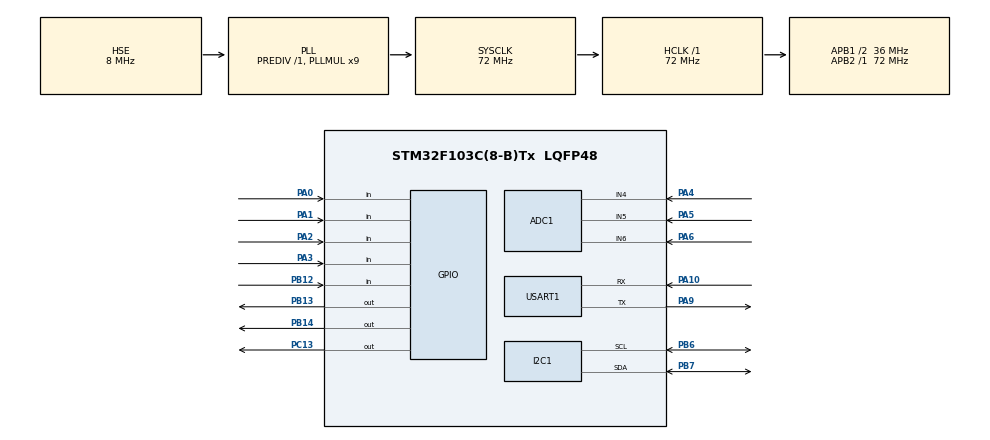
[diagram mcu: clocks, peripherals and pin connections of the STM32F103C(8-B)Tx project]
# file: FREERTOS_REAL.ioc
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ADC1.Channel-0\#ChannelRegularConversion=ADC_CHANNEL_4
ADC1.NbrOfConversionFlag=1
ADC1.Rank-0\#ChannelRegularConversion=1
ADC1.SamplingTime-0\#ChannelRegularConversion=ADC_SAMPLETIME_1CYCLE_5
ADC1.master=1
FREERTOS.Tasks01=defaultTask,24,128,StartDefaultTask,Default,NULL,Dynamic,NULL,NULL
FREERTOS.configTOTAL_HEAP_SIZE=8192
Mcu.Family=STM32F1
Mcu.Name=STM32F103C(8-B)Tx
Mcu.Package=LQFP48
NVIC.PriorityGroup=NVIC_PRIORITYGROUP_4
NVIC.TIM4_IRQn=true\:15\:0\:false\:false\:true\:false\:false\:true\:true
NVIC.TimeBase=TIM4_IRQn
NVIC.TimeBaseIP=TIM4
NVIC.USART1_IRQn=true\:5\:0\:false\:false\:true\:true\:true\:true\:true
PA0-WKUP.GPIO_PuPd=GPIO_PULLUP
PA0-WKUP.Signal=GPIO_Input
PA1.GPIO_PuPd=GPIO_PULLUP
PA1.Signal=GPIO_Input
PA10.Mode=Asynchronous
PA10.Signal=USART1_RX
PA13.Mode=Serial_Wire
PA13.Signal=SYS_JTMS-SWDIO
PA14.Mode=Serial_Wire
PA14.Signal=SYS_JTCK-SWCLK
PA2.GPIO_PuPd=GPIO_PULLUP
PA2.Signal=GPIO_Input
PA3.GPIO_PuPd=GPIO_PULLUP
PA3.Signal=GPIO_Input
PA4.Signal=ADCx_IN4
PA5.Signal=ADCx_IN5
PA6.Signal=ADCx_IN6
PA9.Mode=Asynchronous
PA9.Signal=USART1_TX
PB12.GPIO_PuPd=GPIO_PULLUP
PB12.Signal=GPIO_Input
PB13.GPIO_PuPd=GPIO_PULLDOWN
PB13.Signal=GPIO_Output
PB14.GPIO_PuPd=GPIO_PULLDOWN
PB14.Signal=GPIO_Output
PB6.Mode=I2C
PB6.Signal=I2C1_SCL
PB7.Mode=I2C
PB7.Signal=I2C1_SDA
PC13-TAMPER-RTC.Signal=GPIO_Output
PD0-OSC_IN.Mode=HSE-External-Oscillator
PD0-OSC_IN.Signal=RCC_OSC_IN
PD1-OSC_OUT.Mode=HSE-External-Oscillator
PD1-OSC_OUT.Signal=RCC_OSC_OUT
ProjectManager.HeapSize=0x200
ProjectManager.StackSize=0x400
ProjectManager.TargetToolchain=STM32CubeIDE
RCC.ADCPresc=RCC_ADCPCLK2_DIV6
RCC.AHBFreq_Value=72000000
RCC.APB1CLKDivider=RCC_HCLK_DIV2
RCC.APB1Freq_Value=36000000
RCC.APB1TimFreq_Value=72000000
RCC.APB2Freq_Value=72000000
RCC.APB2TimFreq_Value=72000000
RCC.HCLKFreq_Value=72000000
RCC.PLLMUL=RCC_PLL_MUL9
RCC.PLLSourceVirtual=RCC_PLLSOURCE_HSE
RCC.SYSCLKFreq_VALUE=72000000
RCC.SYSCLKSource=RCC_SYSCLKSOURCE_PLLCLK
RCC.USBFreq_Value=72000000
SH.ADCx_IN4.0=ADC1_IN4,IN4
SH.ADCx_IN5.0=ADC1_IN5,IN5
SH.ADCx_IN6.0=ADC1_IN6,IN6
TIM3.Prescaler=71
USART1.VirtualMode=VM_ASYNC
VP_FREERTOS_VS_CMSIS_V2.Mode=CMSIS_V2
VP_SYS_VS_tim4.Mode=TIM4
VP_TIM3_VS_ClockSourceINT.Mode=Internal
board=custom

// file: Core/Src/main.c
/* USER CODE BEGIN Header */
/**
  ******************************************************************************
  * @file           : main.c
  * @brief          : Main program body
  ******************************************************************************
  * @attention
  *
  * Copyright (c) 2026 STMicroelectronics.
  * All rights reserved.
  *
  * This software is licensed under terms that can be found in the LICENSE file
  * in the root directory of this software component.
  * If no LICENSE file comes with this software, it is provided AS-IS.
  *
  ******************************************************************************
  */
/* USER CODE END Header */
#include "main.h"
#include "cmsis_os.h"

/* USER CODE BEGIN Includes */
#include "ssd1306.h"
#include "ssd1306_fonts.h"
#include "stdio.h"
#include "string.h"
#include "DHT.h"
#define LIGHT_RELAY_PIN      GPIO_PIN_13
#define LIGHT_RELAY_PORT     GPIOB

#define PUMP_RELAY_PIN       GPIO_PIN_14
#define PUMP_RELAY_PORT      GPIOB

#define SOIL_PUMP_ON_THRESH  60
#define LIGHT_LOW_THRESH     40

/* USER CODE END Includes */

/* USER CODE BEGIN PTD */
typedef enum {
  BTN_EVT_OK = 0,
  BTN_EVT_BACK,
  BTN_EVT_UP,
  BTN_EVT_DOWN
} ButtonEvent_t;

typedef enum {
  SCREEN_MENU = 0,
  SCREEN_PLANT_LIST,
  SCREEN_PLANT_INFO,
  SCREEN_PLANT_CONFIRM,
  SCREEN_ACTIVE_HOME,
  SCREEN_ACTIVE_INFO,
  SCREEN_HISTORY_LIST,
  SCREEN_HISTORY_DETAIL
} ScreenState_t;

typedef struct {
  const char* name;
  uint8_t tempMin;
  uint8_t tempMax;
  uint8_t soilMin;
  uint8_t soilMax;
  uint8_t humidMin;
  uint8_t humidMax;
  uint8_t lightMin;
  uint8_t lightMax;
  uint8_t waterTimesPerDay;
} PlantData;

typedef struct {
  int soil;
  int humid;
  int temp;
  int lightPercent;
  float lightHours;
  int minutesToWater;
  int dayRemainSeconds;
  float careHours;
  uint8_t pumpState;
  uint8_t lightState;
} SensorData_t;

typedef struct {
  uint8_t used;
  uint8_t plantId;
  uint16_t reserved;
} HistoryItem_t;

#define HISTORY_MAX 5

typedef struct {
  uint32_t magic;
  uint8_t hasActivePlant;
  uint8_t activePlantId;
  uint8_t historyCount;
  uint8_t historyWriteIndex;

  int minutesToWater;
  float lightHours;

  HistoryItem_t history[HISTORY_MAX];
} PersistData_t;

/* USER CODE END PTD */

/* USER CODE BEGIN PD */
#define BTN_OK_PIN        GPIO_PIN_2
#define BTN_OK_PORT       GPIOA

#define BTN_BACK_PIN      GPIO_PIN_1
#define BTN_BACK_PORT     GPIOA

#define BTN_UP_PIN        GPIO_PIN_3
#define BTN_UP_PORT       GPIOA

#define BTN_DOWN_PIN      GPIO_PIN_0
#define BTN_DOWN_PORT     GPIOA

#define DEBOUNCE_MS               20U
#define SENSOR_PERIOD_MS          1000U
#define ACTIVE_HOME_REFRESH_MS    1000U

#define EVT_REDRAW                (1U << 0)

#define PLANT_COUNT               3

#define FLASH_STORE_ADDR          0x0800FC00U
#define PERSIST_MAGIC             0x504C414EU

DHT_Name DHT1;
uint8_t dhtOk = 0;
float gDhtTempCache = 0.0f;
float gDhtHumidCache = 0.0f;
uint8_t gDhtHasValidData = 0;

uint16_t adcSoilRaw = 0;   // PA4
uint16_t adcLightRaw = 0;  // PA5
uint16_t adcAuxRaw = 0;    // PA6

float gTimeScale = 1.0f;   // he so toc do thoi gian

ScreenState_t currentScreen = SCREEN_MENU;

uint8_t menuIndex = 0;
uint8_t plantIndex = 0;
uint8_t previewPlantId = 0;
uint8_t activePlantId = 0;
uint8_t confirmIndex = 0;
uint8_t historyIndex = 0;

uint8_t infoScroll = 0;
uint8_t activeInfoScroll = 0;
uint8_t homeScroll = 0;
uint8_t hasActivePlant = 0;

SensorData_t gSensorData = {
  .soil = 0,
  .humid = 40,
  .temp = 37,
  .lightPercent = 0,
  .lightHours = 0.0f,
  .minutesToWater = 0,
  .dayRemainSeconds = 24 * 60 * 60,
  .careHours = 0.0f,
  .pumpState = 0,
  .lightState = 0
};
PersistData_t gPersist = {0};

PlantData plants[PLANT_COUNT] = {
  {"Dua leo", 25, 32, 65, 80, 60, 85, 6, 8, 2},
  {"Xa lach", 18, 25, 60, 70, 60, 80, 4, 6, 2},
  {"Nam",     20, 28, 70, 85, 80, 95, 1, 2, 3}
};

//debug
uint32_t dhtValidCount = 0;

/* USER CODE END PD */

ADC_HandleTypeDef hadc1;

I2C_HandleTypeDef hi2c1;

TIM_HandleTypeDef htim3;

UART_HandleTypeDef huart1;

/* Definitions for defaultTask */
osThreadId_t defaultTaskHandle;
const osThreadAttr_t defaultTask_attributes = {
  .name = "defaultTask",
  .stack_size = 128 * 4,
  .priority = (osPriority_t) osPriorityNormal,
};
/* USER CODE BEGIN PV */

osThreadId_t inputTaskHandle;
osThreadId_t sensorTaskHandle;
osThreadId_t logicTaskHandle;
osThreadId_t displayTaskHandle;
osThreadId_t dhtTaskHandle;

const osThreadAttr_t inputTask_attributes = {
  .name = "inputTask",
  .stack_size = 128 * 4,
  .priority = (osPriority_t) osPriorityAboveNormal,
};

const osThreadAttr_t sensorTask_attributes = {
  .name = "sensorTask",
  .stack_size = 128 * 4,
  .priority = (osPriority_t) osPriorityLow,
};

const osThreadAttr_t logicTask_attributes = {
  .name = "logicTask",
  .stack_size = 256 * 4,
  .priority = (osPriority_t) osPriorityNormal,
};

const osThreadAttr_t displayTask_attributes = {
  .name = "displayTask",
  .stack_size = 256 * 4,
  .priority = (osPriority_t) osPriorityBelowNormal,
};

const osThreadAttr_t dhtTask_attributes = {
  .name = "dhtTask",
  .stack_size = 128 * 4,
  .priority = (osPriority_t) osPriorityLow1,
};

osMessageQueueId_t buttonQueueHandle;
osMutexId_t appMutexHandle;
osMutexId_t oledMutexHandle;
osEventFlagsId_t uiEventHandle;

const osMutexAttr_t appMutex_attributes = {
  .name = "appMutex"
};

const osMutexAttr_t oledMutex_attributes = {
  .name = "oledMutex"
};

/* USER CODE END PV */

void SystemClock_Config(void);
static void MX_GPIO_Init(void);
static void MX_I2C1_Init(void);
static void MX_ADC1_Init(void);
static void MX_TIM3_Init(void);
static void MX_USART1_UART_Init(void);
void StartDefaultTask(void *argument);

/* USER CODE BEGIN PFP */
void StartInputTask(void *argument);
void StartSensorTask(void *argument);
void StartLogicTask(void *argument);
void StartDisplayTask(void *argument);
void StartDHTTask(void *argument);

static uint8_t ReadButtonPressed(GPIO_TypeDef *port, uint16_t pin);
static void ProcessButton(GPIO_TypeDef *port, uint16_t pin, ButtonEvent_t evt,
                          uint8_t *sta_now, uint8_t *sta_pre, uint8_t *sta_final,
                          uint8_t *stable_last, uint8_t *flag_press, uint32_t *time_flag);

static void RequestRedraw(void);
static void UpdateSensorData(void);
static void RenderScreen(void);
static void Persist_Load(void);
static void Persist_Save(void);
static void Persist_ApplyToRuntime(void);
static void Persist_UpdateFromRuntime(void);
static void History_Add(uint8_t plantId);

static void HandleMenuInput(ButtonEvent_t evt);
static void HandlePlantListInput(ButtonEvent_t evt);
static void HandlePlantInfoInput(ButtonEvent_t evt);
static void HandlePlantConfirmInput(ButtonEvent_t evt);
static void HandleActiveHomeInput(ButtonEvent_t evt);
static void HandleActiveInfoInput(ButtonEvent_t evt);
static void HandleHistoryListInput(ButtonEvent_t evt);
static void HandleHistoryDetailInput(ButtonEvent_t evt);
void Error_Blink(uint8_t count);
static void DrawHistoryDetailScreen(void);
static void UpdateSensorData(void);
static uint16_t Read_ADC_Channel(uint32_t channel);
static int Map_ADC_To_Percent(uint16_t value, uint16_t minAdc, uint16_t maxAdc, uint8_t invert);
static uint8_t DHT_Read_Safe(float *t, float *h);
/* USER CODE END PFP */

/* USER CODE BEGIN 0 */
static uint16_t Read_ADC_Channel(uint32_t channel)
{
  ADC_ChannelConfTypeDef sConfig = {0};

  sConfig.Channel = channel;
  sConfig.Rank = ADC_REGULAR_RANK_1;
  sConfig.SamplingTime = ADC_SAMPLETIME_55CYCLES_5;

  if (HAL_ADC_ConfigChannel(&hadc1, &sConfig) != HAL_OK) {
    Error_Blink(12);
  }

  if (HAL_ADC_Start(&hadc1) != HAL_OK) {
    Error_Blink(13);
  }

  if (HAL_ADC_PollForConversion(&hadc1, 10) != HAL_OK) {
    HAL_ADC_Stop(&hadc1);
    Error_Blink(14);
  }

  uint16_t value = HAL_ADC_GetValue(&hadc1);
  HAL_ADC_Stop(&hadc1);

  return value;
}

static float Map_ADC_To_TimeScale(uint16_t adc)
{
  float scale;

  scale = 1.0f + ((float)adc / 4095.0f) * 999.0f;

  return scale;
}
static int Map_ADC_To_Percent(uint16_t value, uint16_t minAdc, uint16_t maxAdc, uint8_t invert)
{
  int percent;

  if (maxAdc <= minAdc) return 0;

  if (value < minAdc) value = minAdc;
  if (value > maxAdc) value = maxAdc;

  percent = ((int)(value - minAdc) * 100) / (int)(maxAdc - minAdc);

  if (invert) {
    percent = 100 - percent;
  }

  if (percent < 0) percent = 0;
  if (percent > 100) percent = 100;

  return percent;
}

static void Persist_Load(void)
{
  const PersistData_t *p = (const PersistData_t *)FLASH_STORE_ADDR;

  if (p->magic == PERSIST_MAGIC) {
    memcpy(&gPersist, p, sizeof(PersistData_t));
  } else {
    memset(&gPersist, 0, sizeof(PersistData_t));
    gPersist.magic = PERSIST_MAGIC;
  }
}

static void Persist_UpdateFromRuntime(void)
{
  gPersist.magic = PERSIST_MAGIC;
  gPersist.hasActivePlant = hasActivePlant;
  gPersist.activePlantId = activePlantId;
  gPersist.minutesToWater = gSensorData.minutesToWater;
  gPersist.lightHours = gSensorData.lightHours;
}

static void Persist_ApplyToRuntime(void)
{
  hasActivePlant = gPersist.hasActivePlant;
  activePlantId = gPersist.activePlantId;
  gSensorData.minutesToWater = gPersist.minutesToWater;
  gSensorData.lightHours = gPersist.lightHours;
}

static void Persist_Save(void)
{
  HAL_FLASH_Unlock();

  FLASH_EraseInitTypeDef eraseInit;
  uint32_t pageError = 0;

  eraseInit.TypeErase = FLASH_TYPEERASE_PAGES;
  eraseInit.PageAddress = FLASH_STORE_ADDR;
  eraseInit.NbPages = 1;

  if (HAL_FLASHEx_Erase(&eraseInit, &pageError) != HAL_OK) {
    HAL_FLASH_Lock();
    Error_Blink(10);
  }

  uint32_t *src = (uint32_t *)&gPersist;
  uint32_t addr = FLASH_STORE_ADDR;
  uint32_t words = (sizeof(PersistData_t) + 3U) / 4U;

  for (uint32_t i = 0; i < words; i++) {
    if (HAL_FLASH_Program(FLASH_TYPEPROGRAM_WORD, addr, src[i]) != HAL_OK) {
      HAL_FLASH_Lock();
      Error_Blink(11);
    }
    addr += 4;
  }

  HAL_FLASH_Lock();
}

static void History_Add(uint8_t plantId)
{
  uint8_t idx = gPersist.historyWriteIndex;

  gPersist.history[idx].used = 1;
  gPersist.history[idx].plantId = plantId;

  idx++;
  if (idx >= HISTORY_MAX) idx = 0;

  gPersist.historyWriteIndex = idx;

  if (gPersist.historyCount < HISTORY_MAX) {
    gPersist.historyCount++;
  }
}

static uint8_t ReadButtonPressed(GPIO_TypeDef *port, uint16_t pin)
{
  return (HAL_GPIO_ReadPin(port, pin) == GPIO_PIN_RESET) ? 1U : 0U;
}

static void ProcessButton(GPIO_TypeDef *port, uint16_t pin, ButtonEvent_t evt,
                          uint8_t *sta_now, uint8_t *sta_pre, uint8_t *sta_final,
                          uint8_t *stable_last, uint8_t *flag_press, uint32_t *time_flag)
{
  uint8_t button_read = ReadButtonPressed(port, pin);
  *sta_now = button_read;

  if (*sta_pre != *sta_now) {
    *sta_pre = *sta_now;
    *flag_press = 1;
    *time_flag = osKernelGetTickCount();
  }

  if (*flag_press && ((osKernelGetTickCount() - *time_flag) > DEBOUNCE_MS)) {
    *sta_final = *sta_pre;
    *flag_press = 0;
  }

  if ((*stable_last == 0U) && (*sta_final == 1U)) {
    osMessageQueuePut(buttonQueueHandle, &evt, 0, 0);
  }

  *stable_last = *sta_final;
}

//tạm fake
static void UpdateSensorData(void)
{
  osMutexAcquire(appMutexHandle, osWaitForever);

  adcSoilRaw  = Read_ADC_Channel(ADC_CHANNEL_4);
  adcLightRaw = Read_ADC_Channel(ADC_CHANNEL_5);
  adcAuxRaw   = Read_ADC_Channel(ADC_CHANNEL_6);

  gTimeScale = Map_ADC_To_TimeScale(adcAuxRaw);

  gSensorData.soil = Map_ADC_To_Percent(adcSoilRaw, 1200, 3200, 1);
  gSensorData.lightPercent = Map_ADC_To_Percent(adcLightRaw, 0, 4095, 0);

  if (hasActivePlant) {
    float dt = 1.0f * gTimeScale;
    int deltaSec = (int)(dt + 0.5f);
    PlantData *p = &plants[activePlantId];

    if (deltaSec < 1) deltaSec = 1;

    /* tong thoi gian cham cay, cong don lien tuc */
    gSensorData.careHours += dt / 3600.0f;

    /* thoi gian con lai trong ngay */
    gSensorData.dayRemainSeconds -= deltaSec;

    /* neu sang ngay moi -> reset gio sang trong ngay moi */
    while (gSensorData.dayRemainSeconds <= 0) {
      gSensorData.dayRemainSeconds += 24 * 60 * 60;
      gSensorData.lightHours = 0.0f;
    }

    /* dieu khien bom theo do am dat */
    if (gSensorData.soil < p->soilMin) {
      gSensorData.pumpState = 1;
      HAL_GPIO_WritePin(PUMP_RELAY_PORT, PUMP_RELAY_PIN, GPIO_PIN_SET);
    } else {
      gSensorData.pumpState = 0;
      HAL_GPIO_WritePin(PUMP_RELAY_PORT, PUMP_RELAY_PIN, GPIO_PIN_RESET);
    }

    /* dieu khien den:
       - duoi 40% thi coi la thieu sang
       - neu chua du so gio sang toi thieu trong ngay thi bat den */
    if ((gSensorData.lightPercent < LIGHT_LOW_THRESH) &&
        (gSensorData.lightHours < (float)p->lightMin)) {
      gSensorData.lightState = 1;
      HAL_GPIO_WritePin(LIGHT_RELAY_PORT, LIGHT_RELAY_PIN, GPIO_PIN_SET);

      /* khi den dang bat thi van tinh la dang duoc chieu sang */
      gSensorData.lightHours += dt / 3600.0f;
    } else {
      gSensorData.lightState = 0;
      HAL_GPIO_WritePin(LIGHT_RELAY_PORT, LIGHT_RELAY_PIN, GPIO_PIN_RESET);

      /* neu khong bat den ma anh sang moi truong du lon, van cong gio sang */
      if (gSensorData.lightPercent >= LIGHT_LOW_THRESH) {
        gSensorData.lightHours += dt / 3600.0f;
      }
    }

    /* gioi han de khong vuot qua muc toi da cua cay trong 1 ngay */
    if (gSensorData.lightHours > (float)p->lightMax) {
      gSensorData.lightHours = (float)p->lightMax;
    }

    if (gSensorData.minutesToWater > 0) {
      gSensorData.minutesToWater -= (int)(dt / 60.0f);
      if (gSensorData.minutesToWater < 0) {
        gSensorData.minutesToWater = 0;
      }
    }

  } else {
    gSensorData.lightHours = 0.0f;
    gSensorData.dayRemainSeconds = 24 * 60 * 60;
    gSensorData.careHours = 0.0f;
    gSensorData.pumpState = 0;
    gSensorData.lightState = 0;

    HAL_GPIO_WritePin(PUMP_RELAY_PORT, PUMP_RELAY_PIN, GPIO_PIN_RESET);
    HAL_GPIO_WritePin(LIGHT_RELAY_PORT, LIGHT_RELAY_PIN, GPIO_PIN_RESET);
  }

  osMutexRelease(appMutexHandle);
}

static uint8_t DHT_Read_Safe(float *t, float *h)
{
  uint8_t ok;

  __disable_irq();
  ok = DHT_ReadTempHum(&DHT1);
  if (ok) {
    *t = DHT1.Temp;
    *h = DHT1.Humi;
  }
  __enable_irq();

  return ok;
}

static void RequestRedraw(void)
{
  osEventFlagsSet(uiEventHandle, EVT_REDRAW);
}

static void HandleMenuInput(ButtonEvent_t evt)
{
  if (evt == BTN_EVT_UP && menuIndex > 0) menuIndex--;
  if (evt == BTN_EVT_DOWN && menuIndex < 1) menuIndex++;

  if (evt == BTN_EVT_OK) {
    if (menuIndex == 0) {
      currentScreen = SCREEN_PLANT_LIST;
      plantIndex = 0;
    } else {
      currentScreen = SCREEN_HISTORY_LIST;
      historyIndex = 0;
    }
  }

  if (evt == BTN_EVT_BACK && hasActivePlant) {
    currentScreen = SCREEN_ACTIVE_HOME;
    homeScroll = 0;
  }
}

static void HandlePlantListInput(ButtonEvent_t evt)
{
  if (evt == BTN_EVT_UP && plantIndex > 0) plantIndex--;
  if (evt == BTN_EVT_DOWN && plantIndex < (PLANT_COUNT - 1)) plantIndex++;

  if (evt == BTN_EVT_OK) {
    previewPlantId = plantIndex;
    infoScroll = 0;
    currentScreen = SCREEN_PLANT_INFO;
  }

  if (evt == BTN_EVT_BACK) {
    currentScreen = SCREEN_MENU;
  }
}

static void HandlePlantInfoInput(ButtonEvent_t evt)
{
  if (evt == BTN_EVT_UP && infoScroll > 0) infoScroll--;
  if (evt == BTN_EVT_DOWN && infoScroll < 1) infoScroll++;

  if (evt == BTN_EVT_OK) {
    confirmIndex = 0;
    currentScreen = SCREEN_PLANT_CONFIRM;
  }

  if (evt == BTN_EVT_BACK) {
    currentScreen = SCREEN_PLANT_LIST;
  }
}

static void HandlePlantConfirmInput(ButtonEvent_t evt)
{
  if (evt == BTN_EVT_UP || evt == BTN_EVT_DOWN) {
    confirmIndex = !confirmIndex;
  }

  if (evt == BTN_EVT_OK) {
    if (confirmIndex == 0) {

    	activePlantId = previewPlantId;
    	hasActivePlant = 1;
    	gSensorData.minutesToWater = 80;
    	gSensorData.lightHours = 0.0f;
    	gSensorData.dayRemainSeconds = 24 * 60 * 60;
    	gSensorData.careHours = 0.0f;
    	homeScroll = 0;
    	currentScreen = SCREEN_ACTIVE_HOME;

      History_Add(activePlantId);
      Persist_UpdateFromRuntime();
      Persist_Save();
    } else {
      currentScreen = SCREEN_PLANT_INFO;
    }
  }

  if (evt == BTN_EVT_BACK) {
    currentScreen = SCREEN_PLANT_INFO;
  }
}

static void HandleActiveHomeInput(ButtonEvent_t evt)
{
  if (evt == BTN_EVT_UP && homeScroll > 0) homeScroll--;
  if (evt == BTN_EVT_DOWN && homeScroll < 2) homeScroll++;

  if (evt == BTN_EVT_OK) {
    activeInfoScroll = 0;
    currentScreen = SCREEN_ACTIVE_INFO;
  }

  if (evt == BTN_EVT_BACK) {
    currentScreen = SCREEN_MENU;
  }
}

static void HandleActiveInfoInput(ButtonEvent_t evt)
{
  if (evt == BTN_EVT_UP && activeInfoScroll > 0) activeInfoScroll--;
  if (evt == BTN_EVT_DOWN && activeInfoScroll < 1) activeInfoScroll++;

  if (evt == BTN_EVT_OK || evt == BTN_EVT_BACK) {
    currentScreen = SCREEN_ACTIVE_HOME;
  }
}

static void HandleHistoryListInput(ButtonEvent_t evt)
{
  if (gPersist.historyCount == 0) {
    if (evt == BTN_EVT_BACK || evt == BTN_EVT_OK) {
      currentScreen = SCREEN_MENU;
    }
    return;
  }

  if (evt == BTN_EVT_UP && historyIndex > 0) historyIndex--;
  if (evt == BTN_EVT_DOWN && historyIndex < (gPersist.historyCount - 1) && historyIndex < 3) historyIndex++;

  if (evt == BTN_EVT_OK) {
    currentScreen = SCREEN_HISTORY_DETAIL;
  }

  if (evt == BTN_EVT_BACK) {
    currentScreen = SCREEN_MENU;
  }
}

static void HandleHistoryDetailInput(ButtonEvent_t evt)
{
  if (evt == BTN_EVT_BACK || evt == BTN_EVT_OK) {
    currentScreen = SCREEN_HISTORY_LIST;
  }
}

static void DrawHeader(const char* title)
{
  ssd1306_Fill(Black);
  ssd1306_SetCursor(0, 0);
  ssd1306_WriteString((char*)title, Font_7x10, White);
  ssd1306_Line(0, 11, 127, 11, White);
}

static void DrawMenuScreen(void)
{
  DrawHeader("--MENU--");

  ssd1306_SetCursor(0, 16);
  ssd1306_WriteString(menuIndex == 0 ? "> Chon cay" : "  Chon cay", Font_7x10, White);

  ssd1306_SetCursor(0, 28);
  ssd1306_WriteString(menuIndex == 1 ? "> Lich su" : "  Lich su", Font_7x10, White);
}

static void DrawPlantListScreen(void)
{
  DrawHeader("--CHON CAY--");

  for (uint8_t i = 0; i < PLANT_COUNT; i++) {
    char line[24];
    snprintf(line, sizeof(line), "%c %s", (i == plantIndex) ? '>' : ' ', plants[i].name);
    ssd1306_SetCursor(0, 16 + i * 12);
    ssd1306_WriteString(line, Font_7x10, White);
  }
}

static void DrawPlantInfoCommon(uint8_t plantId, uint8_t scrollValue, const char* header)
{
  char line[32];
  PlantData *p = &plants[plantId];

  DrawHeader(header);

  ssd1306_SetCursor(0, 16);
  ssd1306_WriteString((char*)p->name, Font_7x10, White);

  if (scrollValue == 0) {
    snprintf(line, sizeof(line), "Nhiet:%u-%u", p->tempMin, p->tempMax);
    ssd1306_SetCursor(0, 28);
    ssd1306_WriteString(line, Font_7x10, White);

    snprintf(line, sizeof(line), "Dat :%u-%u%%", p->soilMin, p->soilMax);
    ssd1306_SetCursor(0, 40);
    ssd1306_WriteString(line, Font_7x10, White);

    snprintf(line, sizeof(line), "KKhi:%u-%u%%", p->humidMin, p->humidMax);
    ssd1306_SetCursor(0, 52);
    ssd1306_WriteString(line, Font_7x10, White);
  } else {
    snprintf(line, sizeof(line), "Sang:%u-%uh", p->lightMin, p->lightMax);
    ssd1306_SetCursor(0, 28);
    ssd1306_WriteString(line, Font_7x10, White);

    snprintf(line, sizeof(line), "Tuoi:%u lan/ng", p->waterTimesPerDay);
    ssd1306_SetCursor(0, 40);
    ssd1306_WriteString(line, Font_7x10, White);

    ssd1306_SetCursor(0, 52);
    ssd1306_WriteString("OK:Xac nhan", Font_7x10, White);
  }
}

static void DrawPlantInfoScreen(void)
{
  DrawPlantInfoCommon(previewPlantId, infoScroll, "--THONG SO--");
}

static void DrawPlantConfirmScreen(void)
{
  DrawHeader("--XAC NHAN?--");

  ssd1306_SetCursor(0, 18);
  ssd1306_WriteString((char*)plants[previewPlantId].name, Font_7x10, White);

  ssd1306_SetCursor(0, 34);
  ssd1306_WriteString(confirmIndex == 0 ? "> Co" : "  Co", Font_7x10, White);

  ssd1306_SetCursor(0, 46);
  ssd1306_WriteString(confirmIndex == 1 ? "> Khong" : "  Khong", Font_7x10, White);
}

static void DrawActiveHomeScreen(void)
{
  char line[32];
  PlantData *p = &plants[activePlantId];

  DrawHeader("--DANG CHAM SOC--");

  ssd1306_SetCursor(0, 16);
  ssd1306_WriteString((char*)p->name, Font_7x10, White);

  if (homeScroll == 0)
  {
    snprintf(line, sizeof(line), "Dat :%d%%", gSensorData.soil);
    ssd1306_SetCursor(0, 28);
    ssd1306_WriteString(line, Font_7x10, White);

    snprintf(line, sizeof(line), "KKhi:%d%%", gSensorData.humid);
    ssd1306_SetCursor(0, 40);
    ssd1306_WriteString(line, Font_7x10, White);

    snprintf(line, sizeof(line), "Nhiet:%dC", gSensorData.temp);
    ssd1306_SetCursor(0, 52);
    ssd1306_WriteString(line, Font_7x10, White);
  }
  else if (homeScroll == 1)
  {
    snprintf(line, sizeof(line), "Light:%d%%", gSensorData.lightPercent);
    ssd1306_SetCursor(0, 28);
    ssd1306_WriteString(line, Font_7x10, White);

    int light_int = (int)gSensorData.lightHours;
    int light_dec = (int)(gSensorData.lightHours * 10) % 10;

    snprintf(line, sizeof(line), "Time:%d.%dh", light_int, light_dec);
    ssd1306_SetCursor(0, 40);
    ssd1306_WriteString(line, Font_7x10, White);

    snprintf(line, sizeof(line), "Den:%s",
             gSensorData.lightState ? "ON" : "OFF");
    ssd1306_SetCursor(0, 52);
    ssd1306_WriteString(line, Font_7x10, White);
  }
  else if (homeScroll == 2)
  {
	  int remain_h = gSensorData.dayRemainSeconds / 3600;
	   int remain_m = (gSensorData.dayRemainSeconds % 3600) / 60;
	   int remain_s = gSensorData.dayRemainSeconds % 60;

	   int care_h_int = (int)gSensorData.careHours;
	   int care_h_dec = (int)(gSensorData.careHours * 10.0f) % 10;
	   if (care_h_dec < 0) care_h_dec = -care_h_dec;

	   snprintf(line, sizeof(line), "Con:%02d:%02d:%02d", remain_h, remain_m, remain_s);
	   ssd1306_SetCursor(0, 28);
	   ssd1306_WriteString(line, Font_7x10, White);

	   snprintf(line, sizeof(line), "Cham:%d.%dh", care_h_int, care_h_dec);
	   ssd1306_SetCursor(0, 40);
	   ssd1306_WriteString(line, Font_7x10, White);

	   int speed_int = (int)gTimeScale;
	   int speed_dec = (int)(gTimeScale * 10.0f) % 10;
	   if (speed_dec < 0) speed_dec = -speed_dec;

	   snprintf(line, sizeof(line), "Speed:%d.%dx", speed_int, speed_dec);
	   ssd1306_SetCursor(0, 52);
	   ssd1306_WriteString(line, Font_7x10, White);
  }
}

static void DrawActiveInfoScreen(void)
{
  DrawPlantInfoCommon(activePlantId, activeInfoScroll, "--CAY HIEN TAI--");
}

static void DrawHistoryListScreen(void)
{
  DrawHeader("--LICH SU--");

  if (gPersist.historyCount == 0) {
    ssd1306_SetCursor(0, 20);
    ssd1306_WriteString("Chua co lich su", Font_7x10, White);
    return;
  }

  for (uint8_t i = 0; i < gPersist.historyCount && i < 4; i++) {
    int realIndex = (gPersist.historyWriteIndex + HISTORY_MAX - 1 - i) % HISTORY_MAX;

    if (gPersist.history[realIndex].used) {
      char line[24];
      uint8_t pid = gPersist.history[realIndex].plantId;
      snprintf(line, sizeof(line), "%c %s", (i == historyIndex) ? '>' : ' ', plants[pid].name);

      ssd1306_SetCursor(0, 16 + i * 12);
      ssd1306_WriteString(line, Font_7x10, White);
    }
  }
}

static void DrawHistoryDetailScreen(void)
{
  DrawHeader("--CHI TIET--");

  if (gPersist.historyCount == 0) {
    ssd1306_SetCursor(0, 20);
    ssd1306_WriteString("Chua co lich su", Font_7x10, White);
    return;
  }

  int realIndex = (gPersist.historyWriteIndex + HISTORY_MAX - 1 - historyIndex) % HISTORY_MAX;
  uint8_t pid = gPersist.history[realIndex].plantId;
  PlantData *p = &plants[pid];

  ssd1306_SetCursor(0, 16);
  ssd1306_WriteString((char*)p->name, Font_7x10, White);

  char line[24];

  snprintf(line, sizeof(line), "Nhiet:%u-%u", p->tempMin, p->tempMax);
  ssd1306_SetCursor(0, 28);
  ssd1306_WriteString(line, Font_7x10, White);

  snprintf(line, sizeof(line), "Dat:%u-%u%%", p->soilMin, p->soilMax);
  ssd1306_SetCursor(0, 40);
  ssd1306_WriteString(line, Font_7x10, White);

  snprintf(line, sizeof(line), "Tuoi:%u lan", p->waterTimesPerDay);
  ssd1306_SetCursor(0, 52);
  ssd1306_WriteString(line, Font_7x10, White);
}
static void RenderScreen(void)
{
  osMutexAcquire(appMutexHandle, osWaitForever);
  osMutexAcquire(oledMutexHandle, osWaitForever);

  switch (currentScreen) {
    case SCREEN_MENU:
      DrawMenuScreen();
      break;
    case SCREEN_PLANT_LIST:
      DrawPlantListScreen();
      break;
    case SCREEN_PLANT_INFO:
      DrawPlantInfoScreen();
      break;
    case SCREEN_PLANT_CONFIRM:
      DrawPlantConfirmScreen();
      break;
    case SCREEN_ACTIVE_HOME:
      DrawActiveHomeScreen();
      break;
    case SCREEN_ACTIVE_INFO:
      DrawActiveInfoScreen();
      break;
    case SCREEN_HISTORY_LIST:
      DrawHistoryListScreen();
      break;
    case SCREEN_HISTORY_DETAIL:
      DrawHistoryDetailScreen();
      break;
    default:
      DrawMenuScreen();
      break;
  }

  ssd1306_UpdateScreen();

  osMutexRelease(oledMutexHandle);
  osMutexRelease(appMutexHandle);
}

void Error_Blink(uint8_t count)
{
  __disable_irq();
  while (1)
  {
    for (uint8_t i = 0; i < count; i++)
    {
      HAL_GPIO_WritePin(GPIOC, GPIO_PIN_13, GPIO_PIN_SET);
      for (volatile uint32_t d = 0; d < 500000; d++);

      HAL_GPIO_WritePin(GPIOC, GPIO_PIN_13, GPIO_PIN_RESET);
      for (volatile uint32_t d = 0; d < 500000; d++);
    }

    for (volatile uint32_t d = 0; d < 3000000; d++);
  }
}
/* USER CODE END 0 */

int main(void)
{

  /* MCU Configuration--------------------------------------------------------*/

  /* Reset of all peripherals, Initializes the Flash interface and the Systick. */
  HAL_Init();

  /* Configure the system clock */
  SystemClock_Config();

  /* Initialize all configured peripherals */
  MX_GPIO_Init();
  MX_I2C1_Init();
  MX_ADC1_Init();
  MX_TIM3_Init();
  MX_USART1_UART_Init();
  /* USER CODE BEGIN 2 */
  Persist_Load();
  Persist_ApplyToRuntime();

  /* USER CODE END 2 */

  /* Init scheduler */
  osKernelInitialize();

  /* USER CODE BEGIN RTOS_MUTEX */
  /* add mutexes, ... */
  appMutexHandle = osMutexNew(&appMutex_attributes);
  if (appMutexHandle == NULL) Error_Blink(1);

  oledMutexHandle = osMutexNew(&oledMutex_attributes);
  if (oledMutexHandle == NULL) Error_Blink(2);

  buttonQueueHandle = osMessageQueueNew(8, sizeof(ButtonEvent_t), NULL);
  if (buttonQueueHandle == NULL) Error_Blink(3);

  uiEventHandle = osEventFlagsNew(NULL);
  if (uiEventHandle == NULL) Error_Blink(4);
  /* USER CODE END RTOS_MUTEX */

  /* Create the thread(s) */
  /* creation of defaultTask */
  defaultTaskHandle = osThreadNew(StartDefaultTask, NULL, &defaultTask_attributes);

  /* USER CODE BEGIN RTOS_THREADS */
  /* add threads, ... */
  inputTaskHandle = osThreadNew(StartInputTask, NULL, &inputTask_attributes);
  if (inputTaskHandle == NULL) Error_Blink(6);

  sensorTaskHandle = osThreadNew(StartSensorTask, NULL, &sensorTask_attributes);
  if (sensorTaskHandle == NULL) Error_Blink(7);

  logicTaskHandle = osThreadNew(StartLogicTask, NULL, &logicTask_attributes);
  if (logicTaskHandle == NULL) Error_Blink(8);

  displayTaskHandle = osThreadNew(StartDisplayTask, NULL, &displayTask_attributes);
  if (displayTaskHandle == NULL) Error_Blink(9);

  dhtTaskHandle = osThreadNew(StartDHTTask, NULL, &dhtTask_attributes);
  if (dhtTaskHandle == NULL) Error_Blink(15);
  /* USER CODE END RTOS_THREADS */

  /* Start scheduler */
  osKernelStart();

  /* We should never get here as control is now taken by the scheduler */

  /* Infinite loop */
  while (1)
  {

  }
}

void SystemClock_Config(void)
{
  RCC_OscInitTypeDef RCC_OscInitStruct = {0};
  RCC_ClkInitTypeDef RCC_ClkInitStruct = {0};
  RCC_PeriphCLKInitTypeDef PeriphClkInit = {0};

  /** Initializes the RCC Oscillators according to the specified parameters
  * in the RCC_OscInitTypeDef structure.
  */
  RCC_OscInitStruct.OscillatorType = RCC_OSCILLATORTYPE_HSE;
  RCC_OscInitStruct.HSEState = RCC_HSE_ON;
  RCC_OscInitStruct.HSEPredivValue = RCC_HSE_PREDIV_DIV1;
  RCC_OscInitStruct.HSIState = RCC_HSI_ON;
  RCC_OscInitStruct.PLL.PLLState = RCC_PLL_ON;
  RCC_OscInitStruct.PLL.PLLSource = RCC_PLLSOURCE_HSE;
  RCC_OscInitStruct.PLL.PLLMUL = RCC_PLL_MUL9;
  if (HAL_RCC_OscConfig(&RCC_OscInitStruct) != HAL_OK)
  {
    Error_Handler();
  }

  /** Initializes the CPU, AHB and APB buses clocks
  */
  RCC_ClkInitStruct.ClockType = RCC_CLOCKTYPE_HCLK|RCC_CLOCKTYPE_SYSCLK
                              |RCC_CLOCKTYPE_PCLK1|RCC_CLOCKTYPE_PCLK2;
  RCC_ClkInitStruct.SYSCLKSource = RCC_SYSCLKSOURCE_PLLCLK;
  RCC_ClkInitStruct.AHBCLKDivider = RCC_SYSCLK_DIV1;
  RCC_ClkInitStruct.APB1CLKDivider = RCC_HCLK_DIV2;
  RCC_ClkInitStruct.APB2CLKDivider = RCC_HCLK_DIV1;

  if (HAL_RCC_ClockConfig(&RCC_ClkInitStruct, FLASH_LATENCY_2) != HAL_OK)
  {
    Error_Handler();
  }
  PeriphClkInit.PeriphClockSelection = RCC_PERIPHCLK_ADC;
  PeriphClkInit.AdcClockSelection = RCC_ADCPCLK2_DIV6;
  if (HAL_RCCEx_PeriphCLKConfig(&PeriphClkInit) != HAL_OK)
  {
    Error_Handler();
  }
}

static void MX_ADC1_Init(void)
{

  ADC_ChannelConfTypeDef sConfig = {0};

  /** Common config
  */
  hadc1.Instance = ADC1;
  hadc1.Init.ScanConvMode = ADC_SCAN_DISABLE;
  hadc1.Init.ContinuousConvMode = DISABLE;
  hadc1.Init.DiscontinuousConvMode = DISABLE;
  hadc1.Init.ExternalTrigConv = ADC_SOFTWARE_START;
  hadc1.Init.DataAlign = ADC_DATAALIGN_RIGHT;
  hadc1.Init.NbrOfConversion = 1;
  if (HAL_ADC_Init(&hadc1) != HAL_OK)
  {
    Error_Handler();
  }

  /** Configure Regular Channel
  */
  sConfig.Channel = ADC_CHANNEL_4;
  sConfig.Rank = ADC_REGULAR_RANK_1;
  sConfig.SamplingTime = ADC_SAMPLETIME_1CYCLE_5;
  if (HAL_ADC_ConfigChannel(&hadc1, &sConfig) != HAL_OK)
  {
    Error_Handler();
  }

}

static void MX_I2C1_Init(void)
{

  hi2c1.Instance = I2C1;
  hi2c1.Init.ClockSpeed = 100000;
  hi2c1.Init.DutyCycle = I2C_DUTYCYCLE_2;
  hi2c1.Init.OwnAddress1 = 0;
  hi2c1.Init.AddressingMode = I2C_ADDRESSINGMODE_7BIT;
  hi2c1.Init.DualAddressMode = I2C_DUALADDRESS_DISABLE;
  hi2c1.Init.OwnAddress2 = 0;
  hi2c1.Init.GeneralCallMode = I2C_GENERALCALL_DISABLE;
  hi2c1.Init.NoStretchMode = I2C_NOSTRETCH_DISABLE;
  if (HAL_I2C_Init(&hi2c1) != HAL_OK)
  {
    Error_Handler();
  }

}

static void MX_TIM3_Init(void)
{

  TIM_ClockConfigTypeDef sClockSourceConfig = {0};
  TIM_MasterConfigTypeDef sMasterConfig = {0};

  htim3.Instance = TIM3;
  htim3.Init.Prescaler = 71;
  htim3.Init.CounterMode = TIM_COUNTERMODE_UP;
  htim3.Init.Period = 65535;
  htim3.Init.ClockDivision = TIM_CLOCKDIVISION_DIV1;
  htim3.Init.AutoReloadPreload = TIM_AUTORELOAD_PRELOAD_DISABLE;
  if (HAL_TIM_Base_Init(&htim3) != HAL_OK)
  {
    Error_Handler();
  }
  sClockSourceConfig.ClockSource = TIM_CLOCKSOURCE_INTERNAL;
  if (HAL_TIM_ConfigClockSource(&htim3, &sClockSourceConfig) != HAL_OK)
  {
    Error_Handler();
  }
  sMasterConfig.MasterOutputTrigger = TIM_TRGO_RESET;
  sMasterConfig.MasterSlaveMode = TIM_MASTERSLAVEMODE_DISABLE;
  if (HAL_TIMEx_MasterConfigSynchronization(&htim3, &sMasterConfig) != HAL_OK)
  {
    Error_Handler();
  }

}

static void MX_USART1_UART_Init(void)
{

  huart1.Instance = USART1;
  huart1.Init.BaudRate = 115200;
  huart1.Init.WordLength = UART_WORDLENGTH_8B;
  huart1.Init.StopBits = UART_STOPBITS_1;
  huart1.Init.Parity = UART_PARITY_NONE;
  huart1.Init.Mode = UART_MODE_TX_RX;
  huart1.Init.HwFlowCtl = UART_HWCONTROL_NONE;
  huart1.Init.OverSampling = UART_OVERSAMPLING_16;
  if (HAL_UART_Init(&huart1) != HAL_OK)
  {
    Error_Handler();
  }

}

static void MX_GPIO_Init(void)
{
  GPIO_InitTypeDef GPIO_InitStruct = {0};

  /* GPIO Ports Clock Enable */
  __HAL_RCC_GPIOC_CLK_ENABLE();
  __HAL_RCC_GPIOD_CLK_ENABLE();
  __HAL_RCC_GPIOA_CLK_ENABLE();
  __HAL_RCC_GPIOB_CLK_ENABLE();

  /*Configure GPIO pin Output Level */
  HAL_GPIO_WritePin(GPIOC, GPIO_PIN_13, GPIO_PIN_RESET);

  /*Configure GPIO pin Output Level */
  HAL_GPIO_WritePin(GPIOB, GPIO_PIN_13|GPIO_PIN_14, GPIO_PIN_RESET);

  /*Configure GPIO pin : PC13 */
  GPIO_InitStruct.Pin = GPIO_PIN_13;
  GPIO_InitStruct.Mode = GPIO_MODE_OUTPUT_PP;
  GPIO_InitStruct.Pull = GPIO_NOPULL;
  GPIO_InitStruct.Speed = GPIO_SPEED_FREQ_LOW;
  HAL_GPIO_Init(GPIOC, &GPIO_InitStruct);

  /*Configure GPIO pins : PA0 PA1 PA2 PA3 */
  GPIO_InitStruct.Pin = GPIO_PIN_0|GPIO_PIN_1|GPIO_PIN_2|GPIO_PIN_3;
  GPIO_InitStruct.Mode = GPIO_MODE_INPUT;
  GPIO_InitStruct.Pull = GPIO_PULLUP;
  HAL_GPIO_Init(GPIOA, &GPIO_InitStruct);

  /*Configure GPIO pin : PB12 */
  GPIO_InitStruct.Pin = GPIO_PIN_12;
  GPIO_InitStruct.Mode = GPIO_MODE_INPUT;
  GPIO_InitStruct.Pull = GPIO_PULLUP;
  HAL_GPIO_Init(GPIOB, &GPIO_InitStruct);

  /*Configure GPIO pins : PB13 PB14 */
  GPIO_InitStruct.Pin = GPIO_PIN_13|GPIO_PIN_14;
  GPIO_InitStruct.Mode = GPIO_MODE_OUTPUT_PP;
  GPIO_InitStruct.Pull = GPIO_PULLDOWN;
  GPIO_InitStruct.Speed = GPIO_SPEED_FREQ_LOW;
  HAL_GPIO_Init(GPIOB, &GPIO_InitStruct);

}

/* USER CODE BEGIN 4 */
void StartInputTask(void *argument)
{
  uint8_t sta_now[4] = {0};
  uint8_t sta_pre[4] = {0};
  uint8_t sta_final[4] = {0};
  uint8_t stable_last[4] = {0};
  uint8_t flag_press[4] = {0};
  uint32_t time_flag[4] = {0};

  for (;;) {
    ProcessButton(BTN_OK_PORT, BTN_OK_PIN, BTN_EVT_OK,
                  &sta_now[0], &sta_pre[0], &sta_final[0], &stable_last[0], &flag_press[0], &time_flag[0]);

    ProcessButton(BTN_BACK_PORT, BTN_BACK_PIN, BTN_EVT_BACK,
                  &sta_now[1], &sta_pre[1], &sta_final[1], &stable_last[1], &flag_press[1], &time_flag[1]);

    ProcessButton(BTN_UP_PORT, BTN_UP_PIN, BTN_EVT_UP,
                  &sta_now[2], &sta_pre[2], &sta_final[2], &stable_last[2], &flag_press[2], &time_flag[2]);

    ProcessButton(BTN_DOWN_PORT, BTN_DOWN_PIN, BTN_EVT_DOWN,
                  &sta_now[3], &sta_pre[3], &sta_final[3], &stable_last[3], &flag_press[3], &time_flag[3]);

    osDelay(10);
  }
}

void StartDHTTask(void *argument)
{
  uint8_t ok;

  DHT_Init(&DHT1, DHT22, &htim3, GPIOB, GPIO_PIN_12);

  for (;;)
  {
    __disable_irq();
    ok = DHT_ReadTempHum(&DHT1);
    __enable_irq();

    osMutexAcquire(appMutexHandle, osWaitForever);

    /* Luon cap nhat gia tri hien thi bang gia tri moi nhat trong DHT1 */
    if (DHT1.Temp >= 0.0f)
      gSensorData.temp = (int)(DHT1.Temp + 0.5f);
    else
      gSensorData.temp = (int)(DHT1.Temp - 0.5f);

    gSensorData.humid = (int)(DHT1.Humi + 0.5f);

    gDhtTempCache = DHT1.Temp;
    gDhtHumidCache = DHT1.Humi;
    gDhtHasValidData = 1;

    if (ok) {
      dhtOk = 1;
      dhtValidCount++;
    } else {
      dhtOk = 0;
    }

    osMutexRelease(appMutexHandle);

    RequestRedraw();
    osDelay(2000);
  }
}

void StartSensorTask(void *argument)
{
  for (;;) {
	  UpdateSensorData();
	  char msg[64];

	  snprintf(msg, sizeof(msg),
	           "SOIL:%d,TEMP:%d,HUM:%d,LIGHT:%d\r\n",
	           gSensorData.soil,
	           gSensorData.temp,
	           gSensorData.humid,
	           gSensorData.lightPercent);

	  HAL_UART_Transmit(&huart1, (uint8_t*)msg, strlen(msg), 100);
    RequestRedraw();
    osDelay(1000);
  }
}

void StartLogicTask(void *argument)
{
  ButtonEvent_t evt;
  uint32_t lastActiveRefreshTick = osKernelGetTickCount();

  osMutexAcquire(appMutexHandle, osWaitForever);
  if (hasActivePlant) {
    currentScreen = SCREEN_ACTIVE_HOME;
  } else {
    currentScreen = SCREEN_MENU;
  }
  menuIndex = 0;
  osMutexRelease(appMutexHandle);

  RequestRedraw();

  for (;;) {
    if (osMessageQueueGet(buttonQueueHandle, &evt, NULL, 20) == osOK) {
      osMutexAcquire(appMutexHandle, osWaitForever);

      switch (currentScreen) {
        case SCREEN_MENU:
          HandleMenuInput(evt);
          break;
        case SCREEN_PLANT_LIST:
          HandlePlantListInput(evt);
          break;
        case SCREEN_PLANT_INFO:
          HandlePlantInfoInput(evt);
          break;
        case SCREEN_PLANT_CONFIRM:
          HandlePlantConfirmInput(evt);
          break;
        case SCREEN_ACTIVE_HOME:
          HandleActiveHomeInput(evt);
          break;
        case SCREEN_ACTIVE_INFO:
          HandleActiveInfoInput(evt);
          break;
        case SCREEN_HISTORY_LIST:
          HandleHistoryListInput(evt);
          break;
        case SCREEN_HISTORY_DETAIL:
          HandleHistoryDetailInput(evt);
          break;
        default:
          currentScreen = SCREEN_MENU;
          break;
      }

      osMutexRelease(appMutexHandle);
      RequestRedraw();
    }

    if ((osKernelGetTickCount() - lastActiveRefreshTick) >= ACTIVE_HOME_REFRESH_MS) {
      lastActiveRefreshTick = osKernelGetTickCount();

      osMutexAcquire(appMutexHandle, osWaitForever);
      if (currentScreen == SCREEN_ACTIVE_HOME) {
        osMutexRelease(appMutexHandle);
        RequestRedraw();
      } else {
        osMutexRelease(appMutexHandle);
      }
    }
  }
}

void StartDisplayTask(void *argument)
{
  osDelay(50);

  ssd1306_Init();
  ssd1306_Fill(Black);
  ssd1306_UpdateScreen();

  for (;;) {
    osEventFlagsWait(uiEventHandle, EVT_REDRAW, osFlagsWaitAny, osWaitForever);
    RenderScreen();
  }
}
/* USER CODE END 4 */

void StartDefaultTask(void *argument)
{
  /* USER CODE BEGIN 5 */
  /* Infinite loop */
	  for (;;)
	  {
	    osDelay(osWaitForever);
	  }
  /* USER CODE END 5 */
}

void HAL_TIM_PeriodElapsedCallback(TIM_HandleTypeDef *htim)
{
  if (htim->Instance == TIM4)
  {
    HAL_IncTick();
  }
}

void Error_Handler(void)
{
  /* USER CODE BEGIN Error_Handler_Debug */
  /* User can add his own implementation to report the HAL error return state */
  __disable_irq();
  while (1)
  {
	  HAL_GPIO_TogglePin(GPIOC, GPIO_PIN_13);
	     for (volatile uint32_t i = 0; i < 200000; i++);
  }
  /* USER CODE END Error_Handler_Debug */
}
